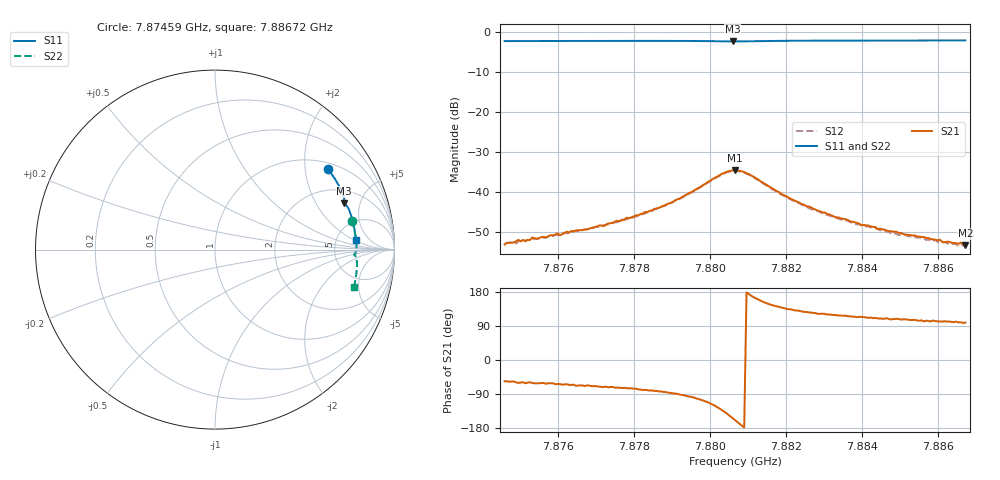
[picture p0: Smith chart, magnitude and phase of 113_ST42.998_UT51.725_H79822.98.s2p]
#  HZ  S  DB  R  50.00
! Rohde & Schwarz Vector Network Analyzer
! Rohde-Schwarz,ZNB20-2Port,1311601062101988,3.16
! Created: UTC 1/12/2023, 6:37:39 PM
! freq[Hz]  db:S11  ang:S11  db:S21  ang:S21  db:S12  ang:S12  db:S22  ang:S22
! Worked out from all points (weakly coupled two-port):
!   201 points, 7.87459 GHz to 7.88672 GHz, reference 50 ohm
!   highest |S21| = -34.47 dB at 7.88065 GHz (marker M1); lowest = -53.2 dB at 7.88672 GHz (marker M2)
!   lowest |S11| = -2.3 dB at 7.88059 GHz (marker M3), VSWR 7.47, Z = 144 + j177 ohm
!   |S11| at or under -10 dB: nowhere
!   |S22| runs from -2.2 to -1.9 dB; largest |S21 - S12| = 0.0012
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7.874585e9  -2.24 35.7  -53.00 -56.0  -52.82 -61.6  -2.15 11.7
7.874889e9  -2.23 34.8  -52.19 -59.0  -52.78 -61.7  -2.14 10.9
7.874949e9  -2.23 34.7  -51.84 -60.5  -52.20 -61.8  -2.14 10.8
7.875131e9  -2.23 34.2  -52.19 -61.5  -52.00 -62.4  -2.14 10.4
7.875313e9  -2.23 33.7  -51.25 -60.8  -51.78 -63.9  -2.14 9.9
7.875677e9  -2.22 32.7  -51.21 -62.9  -51.32 -67.1  -2.12 9.1
7.87598e9  -2.22 31.8  -50.18 -63.4  -50.66 -66.9  -2.12 8.4
7.876041e9  -2.22 31.7  -50.71 -63.3  -50.51 -67.6  -2.11 8.2
7.876223e9  -2.22 31.2  -49.80 -63.8  -50.25 -68.1  -2.10 7.8
7.876648e9  -2.21 30.0  -49.35 -67.8  -49.45 -70.1  -2.10 6.7
7.877193e9  -2.20 28.5  -48.41 -71.3  -48.23 -74.7  -2.09 5.5
7.878649e9  -2.19 24.5  -43.83 -82.9  -43.88 -86.8  -2.06 2.0
7.879377e9  -2.21 22.4  -40.56 -94.9  -40.78 -98.4  -2.07 0.2
7.880287e9  -2.30 20.1  -35.47 -130.9  -35.63 -134.3  -2.17 -1.8
7.88059e9  -2.34 19.7  -34.51 -153.4  -34.69 -157.0  -2.21 -2.0
7.880651e9  -2.34 19.6  -34.47 -158.7  -34.66 -162.0  -2.21 -2.0
7.881015e9  -2.30 19.2  -35.45 173.9  -35.61 170.3  -2.16 -2.3
7.881864e9  -2.18 17.0  -40.34 138.3  -40.52 135.1  -2.04 -4.0
7.882713e9  -2.14 14.7  -44.10 124.5  -44.44 120.7  -1.99 -6.1
7.883987e9  -2.12 11.2  -48.24 113.9  -48.17 108.9  -1.95 -8.9
7.884714e9  -2.11 9.3  -49.67 107.6  -49.98 105.6  -1.95 -10.6
7.886716e9  -2.09 4.1  -53.18 98.6  -53.41 94.9  -1.93 -14.9
